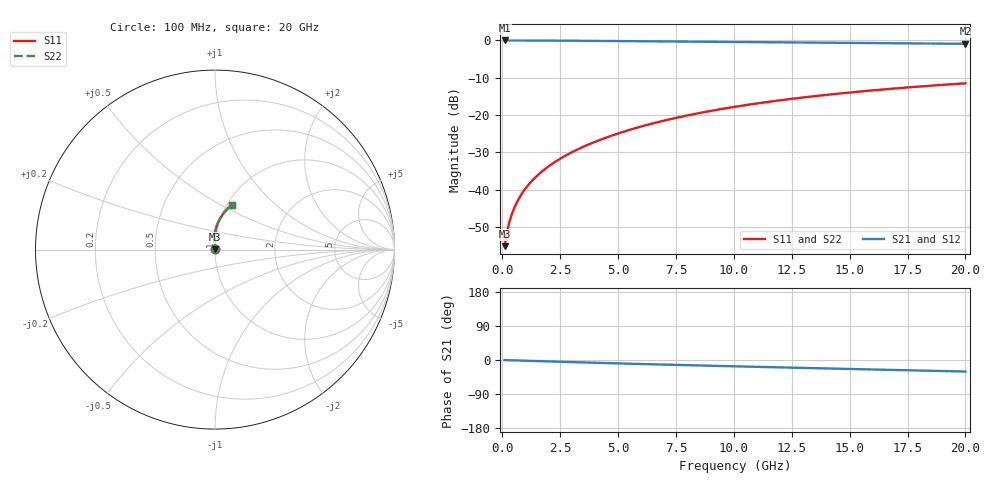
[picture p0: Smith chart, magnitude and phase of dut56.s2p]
! Touchstone file exported from HFSS 2024.1.0
!  File:  C:/UserFiles/LocalFiles/RDL_TSV_Batchsim/temp_RDL_bottom_56_1778693208.aedt
!  Generated:  01:29:02 AM May 14, 2026
!  Design:  RDL_bottom
!  Project:  temp_RDL_bottom_56_1778693208
!  Setup:  Setup1
!  Solution:  Sweep
! Variables:
!  dtsv = 10.80580581um
!  hbump = 3um
!  htsv = 61.94um
!  ldown = 437.84um
!  lrdl = 100um
!  p = 40
!  p1 = 54.92um
!  rhole = 1um
!  t = 450um
!  tdown = 4.92um
!  trdl = 3.915915916um
!  wdown = 28.03um
!  wrdl = 20um
# GHz S MA R 50.000000
! Terminal data exported
! Port[1] = RDL1_T1
! Port[2] = RDL1_T2
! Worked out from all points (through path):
!   200 points, 100 MHz to 20 GHz, reference 50 ohm
!   highest |S21| = -0.01 dB at 100 MHz (marker M1); lowest = -0.9 dB at 20 GHz (marker M2)
!   group delay of S21, straight-line fit = 4.15 ps
!   lowest |S11| = -55.1 dB at 100 MHz (marker M3), VSWR 1.00, Z = 50.1 + j0.116 ohm
!   |S11| at or under -10 dB: start of sweep to end of sweep
!   |S22| runs from -55.1 to -11.5 dB; largest |S21 - S12| = 4.3e-15
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0.1  0.001755 41.1  0.9987 -0.2  0.9987 -0.2  0.001755 41.1
! Gamma 0 0 0 0
! Port Impedance 50 0 50 0
0.2  0.002662 58.0  0.9985 -0.4  0.9985 -0.4  0.002662 58.0
0.3  0.003631 65.6  0.9984 -0.6  0.9984 -0.6  0.003631 65.6
0.4  0.004593 70.0  0.9982 -0.8  0.9982 -0.8  0.004593 70.0
0.5  0.005546 73.1  0.9981 -1.0  0.9981 -1.0  0.005546 73.1
0.6  0.006498 75.5  0.998 -1.2  0.998 -1.2  0.006497 75.5
0.8  0.008415 79.0  0.9977 -1.5  0.9977 -1.5  0.008414 79.0
1.1  0.01135 82.5  0.9971 -2.1  0.9971 -2.1  0.01135 82.5
1.3  0.01334 84.2  0.9967 -2.5  0.9967 -2.5  0.01334 84.2
1.6  0.0164 86.1  0.9959 -3.0  0.9959 -3.0  0.0164 86.1
2.1  0.02167 88.4  0.9943 -3.9  0.9943 -3.9  0.02167 88.4
2.7  0.02828 90.1  0.992 -5.0  0.992 -5.0  0.02828 90.1
3.5  0.03763 91.5  0.9883 -6.4  0.9883 -6.4  0.03763 91.5
4.2  0.04629 92.0  0.9846 -7.6  0.9846 -7.6  0.04629 92.0
5  0.0567 92.1  0.9802 -9.0  0.9802 -9.0  0.0567 92.1
6.8  0.08163 90.9  0.9699 -11.9  0.9699 -11.9  0.08164 90.9
8.4  0.1049 88.8  0.9609 -14.3  0.9609 -14.3  0.1049 88.8
10.1  0.13 86.0  0.9516 -16.8  0.9516 -16.8  0.13 86.0
11.7  0.1535 83.3  0.9431 -19.1  0.9431 -19.1  0.1535 83.3
13.4  0.178 80.4  0.9343 -21.5  0.9343 -21.5  0.178 80.3
16.7  0.2238 74.7  0.9175 -26.0  0.9175 -26.0  0.2238 74.7
20  0.2665 69.4  0.9007 -30.4  0.9007 -30.4  0.2665 69.4
